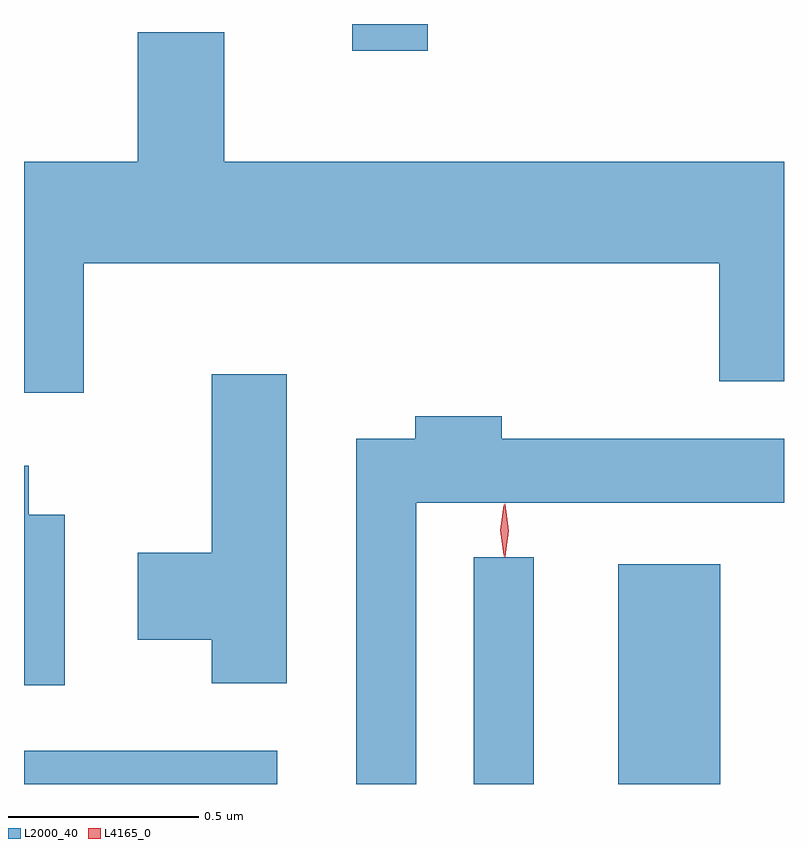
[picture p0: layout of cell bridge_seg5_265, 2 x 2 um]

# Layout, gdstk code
import gdstk
lib = gdstk.Library(unit=1e-6, precision=1e-09)
def R(c, l, rs):  # rectangles x0, y0, x1, y1
    for r in rs: c.add(gdstk.rectangle(r[:2], r[2:], *l))
def P(c, l, *ps):  # polygons
    for p in ps: c.add(gdstk.Polygon(p, *l))
L2000_40 = (2000, 40)
L4165_0 = (4165, 0)

bridge_seg5_265 = lib.new_cell('bridge_seg5_265')
R(bridge_seg5_265, L2000_40, [(1258.202,1417.686,1258.869,1417.774), (1259.386,1417.686,1259.544,1418.283), (1259.766,1417.686,1260.034,1418.264), (1259.066,1419.616,1259.264,1419.686)])
P(bridge_seg5_265, L2000_40, [(1258.359,1419.056),(1260.031,1419.056),(1260.031,1418.746),(1260.202,1418.746),(1260.202,1419.324),(1258.729,1419.324),(1258.729,1419.664),(1258.501,1419.664),(1258.501,1419.324),(1258.202,1419.324),(1258.202,1418.716),(1258.359,1418.716)],
  [(1258.894,1418.764),(1258.696,1418.764),(1258.696,1418.294),(1258.501,1418.294),(1258.501,1418.066),(1258.696,1418.066),(1258.696,1417.951),(1258.894,1417.951)],
  [(1259.234,1418.426),(1260.202,1418.426),(1260.202,1418.594),(1259.459,1418.594),(1259.459,1418.654),(1259.231,1418.654),(1259.231,1418.594),(1259.076,1418.594),(1259.076,1417.686),(1259.234,1417.686)],
  [(1258.309,1418.394),(1258.214,1418.394),(1258.214,1418.524),(1258.202,1418.524),(1258.202,1417.946),(1258.309,1417.946)])
P(bridge_seg5_265, L4165_0, [(1259.465,1418.287),(1259.464,1418.288),(1259.455,1418.354),(1259.464,1418.42),(1259.465,1418.421),(1259.465,1418.42),(1259.475,1418.354),(1259.465,1418.288)],
  [(1259.468,1418.283),(1259.467,1418.284),(1259.458,1418.353),(1259.467,1418.422),(1259.468,1418.423),(1259.468,1418.422),(1259.478,1418.353),(1259.468,1418.284)])

lib.write_gds('bridge_seg5_265.gds')
